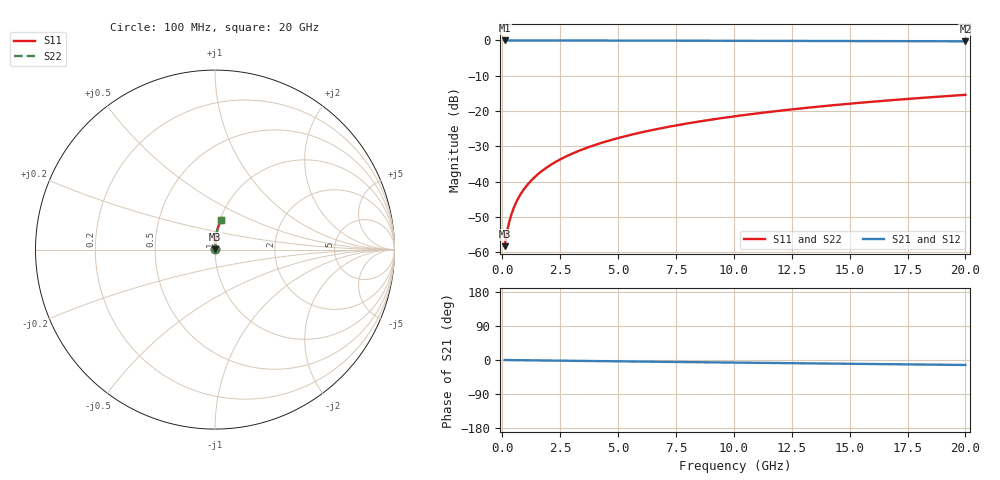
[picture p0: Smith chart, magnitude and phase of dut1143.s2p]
! Touchstone file exported from HFSS 2024.1.0
!  File:  C:/UserFiles/LocalFiles/RDL_TSV_Batchsim/temp_RDL_top_1143_1780047863.aedt
!  Generated:  05:46:39 PM May 29, 2026
!  Design:  RDL_top
!  Project:  temp_RDL_top_1143_1780047863
!  Setup:  Setup1
!  Solution:  Sweep
! Variables:
!  dtsv = 10.80580581um
!  hbump = 3um
!  htsv = 77.17um
!  ldown = 100um
!  lrdl = 137.56um
!  p = 40
!  p1 = 49.17um
!  rhole = 1um
!  t = 450um
!  tdown = 3.915915916um
!  trdl = 4.66um
!  wdown = 15.38538539um
!  wrdl = 14.11um
# GHz S MA R 50.000000
! Terminal data exported
! Port[1] = Box2_T1
! Port[2] = Box2_T2
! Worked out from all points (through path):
!   200 points, 100 MHz to 20 GHz, reference 50 ohm
!   highest |S21| = -0.01 dB at 100 MHz (marker M1); lowest = -0.2 dB at 20 GHz (marker M2)
!   group delay of S21, straight-line fit = 1.81 ps
!   lowest |S11| = -58.3 dB at 100 MHz (marker M3), VSWR 1.00, Z = 50.1 + j0.086 ohm
!   |S11| at or under -10 dB: start of sweep to end of sweep
!   |S22| runs from -58.3 to -15.4 dB; largest |S21 - S12| = 7.1e-15
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0.1  0.001223 44.6  0.9991 -0.1  0.9991 -0.1  0.001223 44.6
! Gamma 0 0 0 0
! Port Impedance 50 0 50 0
0.2  0.001925 62.3  0.9991 -0.1  0.9991 -0.1  0.001925 62.3
0.3  0.0027 70.1  0.9991 -0.2  0.9991 -0.2  0.0027 70.1
0.4  0.003494 74.3  0.999 -0.3  0.999 -0.3  0.003494 74.3
0.5  0.004295 77.1  0.999 -0.4  0.999 -0.4  0.004295 77.1
0.6  0.005101 78.9  0.999 -0.4  0.999 -0.4  0.005101 78.9
0.8  0.006722 81.4  0.9989 -0.6  0.9989 -0.6  0.006722 81.4
1.1  0.00917 83.4  0.9988 -0.8  0.9988 -0.8  0.00917 83.4
1.5  0.01245 84.9  0.9986 -1.1  0.9986 -1.1  0.01245 84.9
1.8  0.01492 85.5  0.9985 -1.3  0.9985 -1.3  0.01492 85.5
2.1  0.01739 85.9  0.9983 -1.5  0.9983 -1.5  0.01739 85.9
2.7  0.02234 86.4  0.9979 -1.9  0.9979 -1.9  0.02234 86.4
3.5  0.02897 86.7  0.9972 -2.5  0.9972 -2.5  0.02897 86.7
4.2  0.03479 86.7  0.9964 -3.0  0.9964 -3.0  0.03479 86.7
5  0.04147 86.7  0.9955 -3.5  0.9955 -3.5  0.04147 86.7
5.9  0.04903 86.5  0.9944 -4.1  0.9944 -4.1  0.04903 86.5
6.8  0.05664 86.3  0.9932 -4.7  0.9932 -4.7  0.05664 86.3
8.3  0.06942 85.7  0.9911 -5.7  0.9911 -5.7  0.06941 85.7
10.1  0.08487 84.9  0.9884 -6.9  0.9884 -6.9  0.08487 84.9
13.4  0.1134 83.0  0.9833 -9.0  0.9833 -9.0  0.1134 83.0
16.7  0.1417 81.0  0.9778 -11.1  0.9778 -11.1  0.1417 81.0
20  0.1697 78.8  0.972 -13.1  0.972 -13.1  0.1697 78.8
